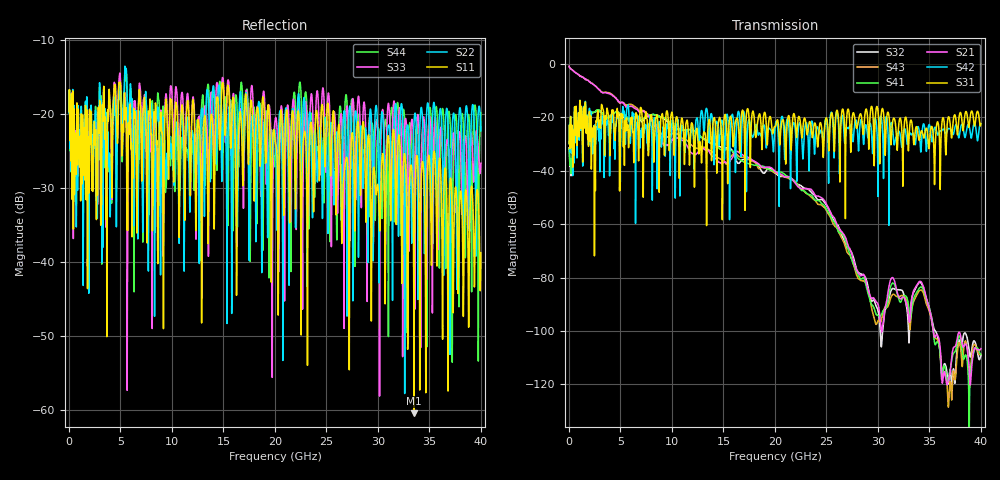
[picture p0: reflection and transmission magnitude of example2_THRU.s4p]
! File created by SignalIntegrity v1.2.0: Signal and Power Integrity Tools
! https://github.com/TeledyneLeCroy/SignalIntegrity
# MHz S MA R 50.0
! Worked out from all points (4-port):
!   4000 points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, 10 MHz to 40 GHz, reference 50 ohm
!   strongest paths, dB at 10 MHz, 10.01 GHz, 20.01 GHz, 30.01 GHz, 40 GHz:
!     S31: -29.8, -18.2, -23.5, -17.7, -22.4
!     S42: -29.9, -21.7, -23.7, -49.6, -22.4
!     S21: -0.8, -28.7, -40.2, -90.0, -106.6
!     S41: -31.8, -22.9, -40.3, -94.1, -108.8
!     S43: -0.8, -26.1, -40.8, -96.2, -108.8
!     S32: -31.4, -23.4, -40.8, -92.4, -109.2
!   lowest |S11| = -60.5 dB at 33.5 GHz (marker M1), VSWR 1.00, Z = 49.9 + j0.0321 ohm
!   |S11| at or under -10 dB: start of sweep to end of sweep
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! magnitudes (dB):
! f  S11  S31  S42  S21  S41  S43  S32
! 10 MHz  -19.7  -29.8  -29.9  -0.8  -31.8  -0.8  -31.4
! 2.71 GHz  -24.7  -20.5  -23.5  -8.8  -17.3  -8.8  -17.4
! 9.18 GHz  -43.6  -23.2  -24.1  -30.5  -20.0  -27.0  -20.4
! 23.49 GHz  -21.1  -23.0  -22.6  -46.9  -49.0  -49.7  -47.9
! 28.28 GHz  -30.0  -18.7  -22.1  -79.2  -80.4  -81.0  -78.7
! 33.5 GHz  -60.5  -30.1  -27.0  -84.6  -87.4  -88.7  -85.3
! 40 GHz  -38.8  -22.4  -22.4  -106.6  -108.8  -108.8  -109.2
